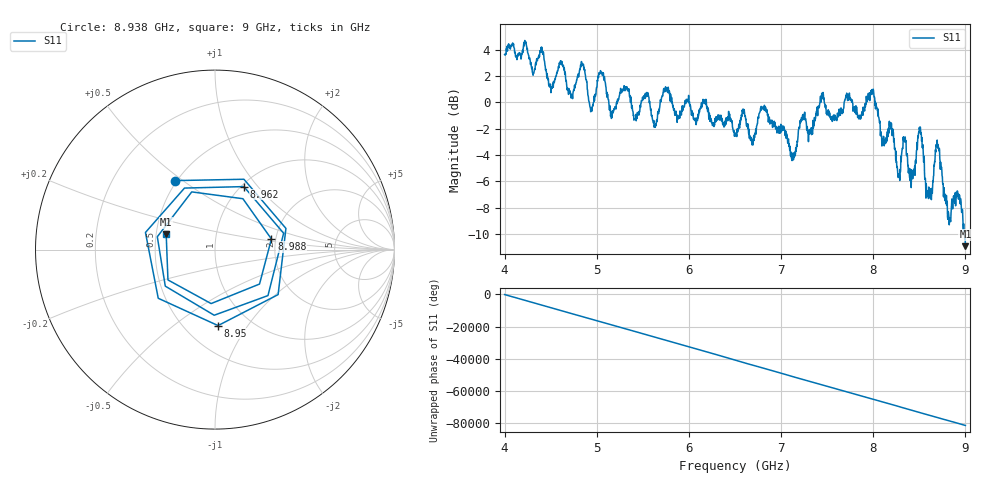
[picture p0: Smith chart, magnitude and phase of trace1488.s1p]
! Created with skrf 1.8.0 (http://scikit-rf.org).
# Hz S RI R 50.0
!freq ReS11 ImS11
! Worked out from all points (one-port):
!   1601 points, 4 GHz to 9 GHz, reference 50 ohm
!   lowest |S11| = -10.9 dB at 9 GHz (marker M1), VSWR 1.80, Z = 28.3 + j5.27 ohm
!   |S11| at or under -10 dB: 8.989739 GHz to end of sweep
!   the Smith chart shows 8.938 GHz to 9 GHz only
!   S11 on the Smith chart (normalised r, x): 8.938 GHz: 0.49, +0.47; 8.95 GHz: 0.72, -0.74; 8.962 GHz: 1.03, +0.85; 8.988 GHz: 1.90, +0.25; 9 GHz: 0.57, +0.11
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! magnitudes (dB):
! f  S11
! 4 GHz  3.6
! 4.4 GHz  3.9
! 4.503 GHz  0.7
! 4.625 GHz  2.8
! 4.716 GHz  0.6
! 4.847 GHz  2.9
! 4.938 GHz  -0.4
! 5.047 GHz  2.3
! 5.159 GHz  -1.2
! 5.25 GHz  0.8
! 5.875 GHz  -1.0
! 6.5 GHz  -2.5
! 6.809 GHz  -0.5
! 7.125 GHz  -4.0
! 7.441 GHz  0.7
! 7.75 GHz  0.2
! 7.991 GHz  0.9
! 8.272 GHz  -5.7
! 8.375 GHz  -4.8
! 8.506 GHz  -1.9
! 8.597 GHz  -6.7
! 8.697 GHz  -3.4
! 8.822 GHz  -8.7
! 8.938 GHz  -7.0
! 8.95 GHz  -7.5
! 8.962 GHz  -8.3
! 8.988 GHz  -9.9
! 9 GHz  -10.9
